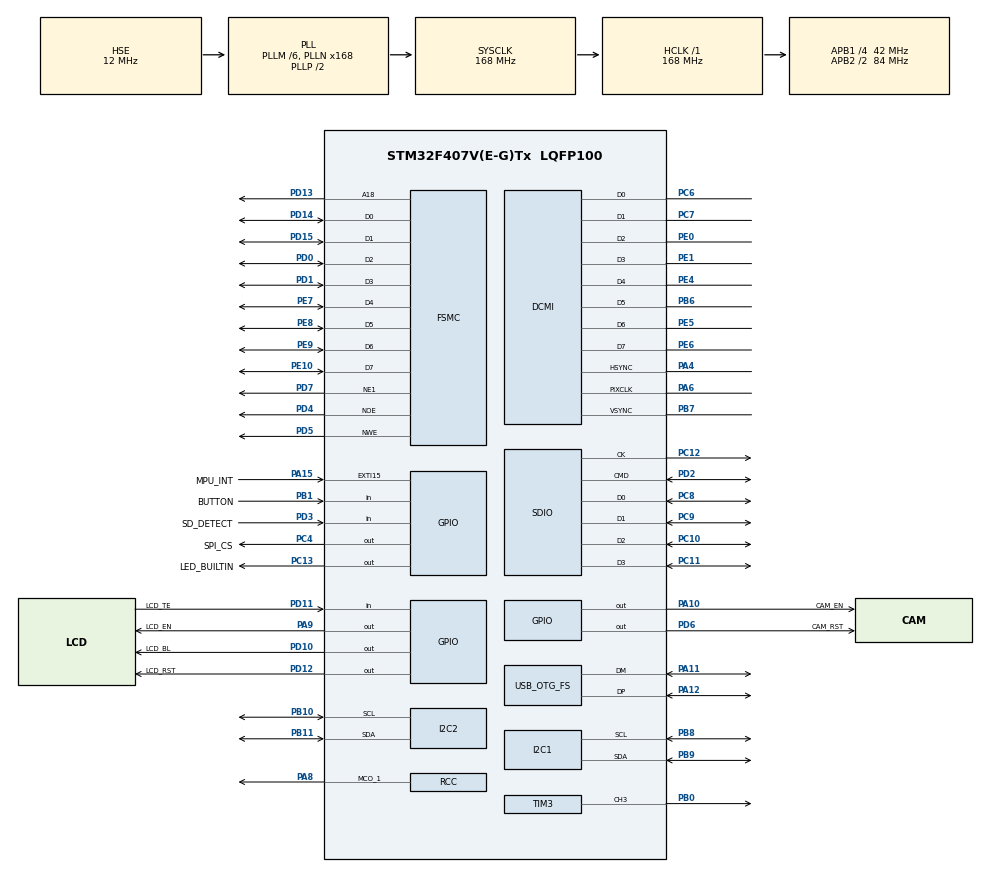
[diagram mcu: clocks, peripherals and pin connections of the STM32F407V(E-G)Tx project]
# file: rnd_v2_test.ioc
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DCMI.JPEGMode=DCMI_JPEG_DISABLE
DCMI.PCKPolarity=DCMI_PCKPOLARITY_RISING
DCMI.VSPolarity=DCMI_VSPOLARITY_HIGH
Dma.DCMI.0.Direction=DMA_PERIPH_TO_MEMORY
Dma.DCMI.0.FIFOMode=DMA_FIFOMODE_DISABLE
Dma.DCMI.0.Instance=DMA2_Stream1
Dma.DCMI.0.MemDataAlignment=DMA_MDATAALIGN_WORD
Dma.DCMI.0.MemInc=DMA_MINC_ENABLE
Dma.DCMI.0.Mode=DMA_CIRCULAR
Dma.DCMI.0.PeriphDataAlignment=DMA_PDATAALIGN_WORD
Dma.DCMI.0.PeriphInc=DMA_PINC_DISABLE
Dma.DCMI.0.Priority=DMA_PRIORITY_VERY_HIGH
Dma.MEMTOMEM.1.Direction=DMA_MEMORY_TO_MEMORY
Dma.MEMTOMEM.1.FIFOMode=DMA_FIFOMODE_ENABLE
Dma.MEMTOMEM.1.FIFOThreshold=DMA_FIFO_THRESHOLD_FULL
Dma.MEMTOMEM.1.Instance=DMA2_Stream2
Dma.MEMTOMEM.1.MemBurst=DMA_MBURST_SINGLE
Dma.MEMTOMEM.1.MemDataAlignment=DMA_MDATAALIGN_HALFWORD
Dma.MEMTOMEM.1.MemInc=DMA_MINC_ENABLE
Dma.MEMTOMEM.1.Mode=DMA_NORMAL
Dma.MEMTOMEM.1.PeriphBurst=DMA_PBURST_SINGLE
Dma.MEMTOMEM.1.PeriphDataAlignment=DMA_PDATAALIGN_HALFWORD
Dma.MEMTOMEM.1.PeriphInc=DMA_PINC_DISABLE
Dma.MEMTOMEM.1.Priority=DMA_PRIORITY_VERY_HIGH
Dma.MEMTOMEM.2.Direction=DMA_MEMORY_TO_MEMORY
Dma.MEMTOMEM.2.FIFOMode=DMA_FIFOMODE_ENABLE
Dma.MEMTOMEM.2.FIFOThreshold=DMA_FIFO_THRESHOLD_FULL
Dma.MEMTOMEM.2.Instance=DMA2_Stream4
Dma.MEMTOMEM.2.MemBurst=DMA_MBURST_SINGLE
Dma.MEMTOMEM.2.MemDataAlignment=DMA_MDATAALIGN_HALFWORD
Dma.MEMTOMEM.2.MemInc=DMA_MINC_ENABLE
Dma.MEMTOMEM.2.Mode=DMA_NORMAL
Dma.MEMTOMEM.2.PeriphBurst=DMA_PBURST_SINGLE
Dma.MEMTOMEM.2.PeriphDataAlignment=DMA_PDATAALIGN_HALFWORD
Dma.MEMTOMEM.2.PeriphInc=DMA_PINC_ENABLE
Dma.MEMTOMEM.2.Priority=DMA_PRIORITY_VERY_HIGH
Dma.Request0=DCMI
Dma.Request1=MEMTOMEM
Dma.Request2=MEMTOMEM
FATFS.BSP.number=1
FATFS0.BSP.STBoard=false
FATFS0.BSP.api=Unknown
FATFS0.BSP.instance=PD3
FATFS0.BSP.ip=GPIO
FATFS0.BSP.mode=Input
FATFS0.BSP.name=Detect_SDIO
FATFS0.BSP.solution=PD3
FSMC.AddressSetupTime1=2
FSMC.BusTurnAroundDuration1=1
FSMC.DataSetupTime1=4
I2C1.I2C_Mode=I2C_Fast
I2C2.I2C_Mode=I2C_Standard
Mcu.Family=STM32F4
Mcu.Name=STM32F407V(E-G)Tx
Mcu.Package=LQFP100
NVIC.DCMI_IRQn=true\:0\:0\:false\:false\:true\:true\:true\:true
NVIC.DMA2_Stream1_IRQn=true\:0\:0\:false\:false\:true\:false\:true\:true
NVIC.OTG_FS_IRQn=true\:0\:0\:false\:false\:true\:false\:true\:true
NVIC.PriorityGroup=NVIC_PRIORITYGROUP_4
NVIC.TIM1_UP_TIM10_IRQn=true\:15\:0\:false\:false\:true\:false\:true\:true
NVIC.TIM7_IRQn=true\:0\:0\:false\:false\:true\:true\:true\:true
NVIC.TimeBase=TIM1_UP_TIM10_IRQn
NVIC.TimeBaseIP=TIM1
PA10.GPIO_Label=CAM_EN
PA10.GPIO_ModeDefaultOutputPP=GPIO_MODE_OUTPUT_OD
PA10.Signal=GPIO_Output
PA11.Mode=Device_Only
PA11.Signal=USB_OTG_FS_DM
PA12.Mode=Device_Only
PA12.Signal=USB_OTG_FS_DP
PA13.Mode=Serial_Wire
PA13.Signal=SYS_JTMS-SWDIO
PA14.Mode=Serial_Wire
PA14.Signal=SYS_JTCK-SWCLK
PA15.GPIO_Label=MPU_INT
PA15.GPIO_ModeDefaultEXTI=GPIO_MODE_IT_FALLING
PA15.GPIO_PuPd=GPIO_PULLUP
PA15.Signal=GPXTI15
PA4.GPIO_Speed=GPIO_SPEED_FREQ_VERY_HIGH
PA4.Mode=Slave_8_bits_External_Synchro
PA4.Signal=DCMI_HSYNC
PA6.GPIO_Speed=GPIO_SPEED_FREQ_VERY_HIGH
PA6.Mode=Slave_8_bits_External_Synchro
PA6.Signal=DCMI_PIXCLK
PA8.GPIO_Speed=GPIO_SPEED_FREQ_VERY_HIGH
PA8.Mode=Clock-out-1
PA8.Signal=RCC_MCO_1
PA9.GPIO_Label=LCD_EN
PA9.GPIO_ModeDefaultOutputPP=GPIO_MODE_OUTPUT_OD
PA9.Signal=GPIO_Output
PB0.Signal=S_TIM3_CH3
PB1.GPIO_Label=BUTTON
PB1.GPIO_PuPd=GPIO_PULLUP
PB1.Signal=GPIO_Input
PB10.GPIO_Pu=GPIO_PULLUP
PB10.Mode=I2C
PB10.Signal=I2C2_SCL
PB11.GPIO_Pu=GPIO_PULLUP
PB11.Mode=I2C
PB11.Signal=I2C2_SDA
PB6.GPIO_Speed=GPIO_SPEED_FREQ_VERY_HIGH
PB6.Mode=Slave_8_bits_External_Synchro
PB6.Signal=DCMI_D5
PB7.GPIO_Speed=GPIO_SPEED_FREQ_VERY_HIGH
PB7.Mode=Slave_8_bits_External_Synchro
PB7.Signal=DCMI_VSYNC
PB8.GPIO_Pu=GPIO_PULLUP
PB8.Mode=I2C
PB8.Signal=I2C1_SCL
PB9.GPIO_Pu=GPIO_PULLUP
PB9.Mode=I2C
PB9.Signal=I2C1_SDA
PC10.GPIO_PuPd=GPIO_PULLUP
PC10.Mode=SD_4_bits_Wide_bus
PC10.Signal=SDIO_D2
PC11.GPIO_PuPd=GPIO_PULLUP
PC11.Mode=SD_4_bits_Wide_bus
PC11.Signal=SDIO_D3
PC12.GPIO_PuPd=GPIO_PULLUP
PC12.Mode=SD_4_bits_Wide_bus
PC12.Signal=SDIO_CK
PC13-ANTI_TAMP.GPIO_Label=LED_BUILTIN
PC13-ANTI_TAMP.Signal=GPIO_Output
PC14-OSC32_IN.Mode=LSE-External-Clock-Source
PC14-OSC32_IN.Signal=RCC_OSC32_IN
PC15-OSC32_OUT.Mode=LSE-External-Clock-Source
PC15-OSC32_OUT.Signal=RCC_OSC32_OUT
PC4.GPIO_Label=SPI_CS
PC4.GPIO_Speed=GPIO_SPEED_FREQ_VERY_HIGH
PC4.Signal=GPIO_Output
PC6.GPIO_Speed=GPIO_SPEED_FREQ_VERY_HIGH
PC6.Mode=Slave_8_bits_External_Synchro
PC6.Signal=DCMI_D0
PC7.GPIO_Speed=GPIO_SPEED_FREQ_VERY_HIGH
PC7.Mode=Slave_8_bits_External_Synchro
PC7.Signal=DCMI_D1
PC8.GPIO_PuPd=GPIO_PULLUP
PC8.Mode=SD_4_bits_Wide_bus
PC8.Signal=SDIO_D0
PC9.GPIO_PuPd=GPIO_PULLUP
PC9.Mode=SD_4_bits_Wide_bus
PC9.Signal=SDIO_D1
PD0.Mode=8b-d1
PD0.Signal=FSMC_D2
PD1.Mode=8b-d1
PD1.Signal=FSMC_D3
PD10.GPIO_Label=LCD_BL
PD10.Signal=GPIO_Output
PD11.GPIO_Label=LCD_TE
PD11.Signal=GPIO_Input
PD12.GPIO_Label=LCD_RST
PD12.Signal=GPIO_Output
PD13.Mode=A18_1
PD13.Signal=FSMC_A18
PD14.Mode=8b-d1
PD14.Signal=FSMC_D0
PD15.Mode=8b-d1
PD15.Signal=FSMC_D1
PD2.GPIO_PuPd=GPIO_PULLUP
PD2.Mode=SD_4_bits_Wide_bus
PD2.Signal=SDIO_CMD
PD3.GPIO_Label=SD_DETECT
PD3.GPIO_PuPd=GPIO_PULLUP
PD3.Signal=GPIO_Input
PD4.Mode=Lcd1
PD4.Signal=FSMC_NOE
PD5.Mode=Lcd1
PD5.Signal=FSMC_NWE
PD6.GPIO_Label=CAM_RST
PD6.Signal=GPIO_Output
PD7.Mode=NorPsramChipSelect1_1
PD7.Signal=FSMC_NE1
PE0.GPIO_Speed=GPIO_SPEED_FREQ_VERY_HIGH
PE0.Mode=Slave_8_bits_External_Synchro
PE0.Signal=DCMI_D2
PE1.GPIO_Speed=GPIO_SPEED_FREQ_VERY_HIGH
PE1.Mode=Slave_8_bits_External_Synchro
PE1.Signal=DCMI_D3
PE10.Mode=8b-d1
PE10.Signal=FSMC_D7
PE4.GPIO_Speed=GPIO_SPEED_FREQ_VERY_HIGH
PE4.Mode=Slave_8_bits_External_Synchro
PE4.Signal=DCMI_D4
PE5.GPIO_Speed=GPIO_SPEED_FREQ_VERY_HIGH
PE5.Mode=Slave_8_bits_External_Synchro
PE5.Signal=DCMI_D6
PE6.GPIO_Speed=GPIO_SPEED_FREQ_VERY_HIGH
PE6.Mode=Slave_8_bits_External_Synchro
PE6.Signal=DCMI_D7
PE7.Mode=8b-d1
PE7.Signal=FSMC_D4
PE8.Mode=8b-d1
PE8.Signal=FSMC_D5
PE9.Mode=8b-d1
PE9.Signal=FSMC_D6
PH0-OSC_IN.Mode=HSE-External-Oscillator
PH0-OSC_IN.Signal=RCC_OSC_IN
PH1-OSC_OUT.Mode=HSE-External-Oscillator
PH1-OSC_OUT.Signal=RCC_OSC_OUT
ProjectManager.HeapSize=0x200
ProjectManager.StackSize=0x400
ProjectManager.TargetToolchain=STM32CubeIDE
RCC.48MHZClocksFreq_Value=48000000
RCC.AHBFreq_Value=168000000
RCC.APB1CLKDivider=RCC_HCLK_DIV4
RCC.APB1Freq_Value=42000000
RCC.APB1TimFreq_Value=84000000
RCC.APB2CLKDivider=RCC_HCLK_DIV2
RCC.APB2Freq_Value=84000000
RCC.APB2TimFreq_Value=168000000
RCC.CortexFreq_Value=168000000
RCC.HCLKFreq_Value=168000000
RCC.HSE_VALUE=12000000
RCC.HSI_VALUE=16000000
RCC.LSE_VALUE=32768
RCC.PLLM=6
RCC.PLLN=168
RCC.PLLQ=7
RCC.SYSCLKFreq_VALUE=168000000
RCC.SYSCLKSource=RCC_SYSCLKSOURCE_PLLCLK
RCC.VCOOutputFreq_Value=336000000
SH.S_TIM3_CH3.0=TIM3_CH3,PWM Generation3 CH3
TIM2.Prescaler=84
TIM3.AutoReloadPreload=TIM_AUTORELOAD_PRELOAD_ENABLE
TIM3.Channel-PWM\ Generation3\ CH3=TIM_CHANNEL_3
TIM3.Period=839
TIM3.Prescaler=7
TIM7.Period=100
TIM7.Prescaler=167
USB_DEVICE.CLASS_NAME_FS=CDC
USB_DEVICE.VirtualMode-CDC_FS=Cdc
USB_DEVICE.VirtualModeFS=Cdc_FS
USB_OTG_FS.VirtualMode=Device_Only
VP_FATFS_VS_SDIO.Mode=SDIO
VP_SYS_VS_tim1.Mode=TIM1
VP_TIM2_VS_ClockSourceINT.Mode=Internal
VP_TIM3_VS_ClockSourceINT.Mode=Internal
VP_TIM7_VS_ClockSourceINT.Mode=Enable_Timer
VP_USB_DEVICE_VS_USB_DEVICE_CDC_FS.Mode=CDC_FS
board=custom

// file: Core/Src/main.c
/* USER CODE BEGIN Header */
/**
  ******************************************************************************
  * @file           : main.c
  * @brief          : Main program body
  ******************************************************************************
  * @attention
  *
  * <h2><center>&copy; Copyright (c) 2021 STMicroelectronics.
  * All rights reserved.</center></h2>
  *
  * This software component is licensed by ST under Ultimate Liberty license
  * SLA0044, the "License"; You may not use this file except in compliance with
  * the License. You may obtain a copy of the License at:
  *                             www.st.com/SLA0044
  *
  ******************************************************************************
  */
/* USER CODE END Header */
#include "main.h"
#include "fatfs.h"
#include "usb_device.h"

/* USER CODE BEGIN Includes */
#include "sirojuLIB_ST7789.h"
#include "sirojuLIB_ov7670_SCCB.h"
#include "image_bin.h"
#include "stdio.h"
#include "stdlib.h"
#include "math.h"
#include "ff.h"
/* USER CODE END Includes */

DCMI_HandleTypeDef hdcmi;
DMA_HandleTypeDef hdma_dcmi;

I2C_HandleTypeDef hi2c1;
I2C_HandleTypeDef hi2c2;

SD_HandleTypeDef hsd;

TIM_HandleTypeDef htim2;
TIM_HandleTypeDef htim3;
TIM_HandleTypeDef htim7;

DMA_HandleTypeDef hdma_memtomem_dma2_stream2;
DMA_HandleTypeDef hdma_memtomem_dma2_stream4;
SRAM_HandleTypeDef hsram1;

/* USER CODE BEGIN PV */

/*
 * SD CARD PINOUT
 * SD_DETECT	-> PD3
 * SDIO_CMD		-> PD2
 * SDIO_CK		-> PC12
 * SDIO_D0		-> PC8
 * SDIO_D1		-> PC9
 * SDIO_D2		-> PC10
 * SDIO_D3		-> PC11
 */

#define CAMERA_WIDTH  320
#define CAMERA_HEIGHT 240
#define LCD_WIDTH     240
#define LCD_HEIGHT    240
#define WIDTH  240
#define HEIGHT 240

#define LCD_PRINT(str, x, y) ST7789_printText(str, x, y, 0x0000, 0xffff, 1);

typedef enum {
	NONE, RED, GREEN, BLUE
}color_t;

_Bool bt_state = 0, lcd_show_flag = 0;
_Bool cam_frame_flag = 0, cam_show_mode = 1;
uint8_t camera_buffer[LCD_WIDTH*LCD_HEIGHT*2] __attribute__((aligned(32)));
uint8_t frame_color_mask[LCD_WIDTH*LCD_HEIGHT / 8] __attribute__((section(".ccmram")));
//__attribute__((section(".ccmram")))
uint8_t fps, fps_count = 0;
uint32_t timer1, fps_tick;
char lcd_str_buffer[32];

uint8_t frame_x0, frame_y0, frame_x1, frame_y1;

color_t filter_mode = RED;

/* USER CODE END PV */

void SystemClock_Config(void);
static void MX_GPIO_Init(void);
static void MX_DMA_Init(void);
static void MX_DCMI_Init(void);
static void MX_FSMC_Init(void);
static void MX_I2C1_Init(void);
static void MX_I2C2_Init(void);
static void MX_TIM3_Init(void);
static void MX_TIM7_Init(void);
static void MX_TIM2_Init(void);
static void MX_SDIO_SD_Init(void);
/* USER CODE BEGIN PFP */

uint8_t CDC_Transmit_FS(uint8_t* Buf, uint16_t Len);

/* USER CODE END PFP */

/* USER CODE BEGIN 0 */

FATFS fs;         // FatFs work area
FIL fil;          // File object
FRESULT res;      // FatFs return code
char read_data[100]; // Buffer to store the read data
DWORD free_clust;  // Free clusters count
DWORD total_clust; // Total clusters count

#if 0
void sd_check (){
    // Mount the SD card
    res = f_mount(&fs, "", 1);
    if (res != FR_OK) {
        // Handle mounting error
        printf("Mounting SD card failed\n");
        while(1);
    }

    // Get the free space and total size of the SD card
    res = f_getfree("", &free_clust, &fs);
    if (res == FR_OK) {
        // Get the bytes per sector
        bytes_per_sector = fs.csize * 512;

        // Get the total clusters
        total_clust = fs.n_fatent - 2;  // Reserved clusters count

        // Calculate total size in bytes
        DWORD total_size = total_clust * bytes_per_sector;

        // Calculate free space in bytes
        DWORD free_size = free_clust * bytes_per_sector;

        // Format the information to display
        sprintf(info, "Total size: %lu bytes\nFree size: %lu bytes\n", total_size, free_size);

        // Print the SD card size information (via UART or any method)
        printf("%s", info);
    } else {
        // Handle error in getting free space
        printf("Error retrieving SD card information\n");
    }
}
#endif

void test_sd (){
	// Mount the SD card
	res = f_mount(&fs, "", 1);
	if (res != FR_OK) {
		// Handle mounting error
		LCD_PRINT ("mount failed", 5, 20);
		return;
	}
	LCD_PRINT ("mount success", 5, 20);

	// Open a file for writing
	res = f_open(&fil, "hello1.txt", FA_CREATE_ALWAYS | FA_WRITE);
	if (res == FR_OK) {
		LCD_PRINT ("success open file", 5, 35);
		char write_data[] = "Hello, STM32 SDIO!";
		UINT bytes_written;
		f_write(&fil, write_data, sizeof(write_data), &bytes_written);
		f_close(&fil);
	}
}

void test_sd_read_txt (){
	// Open the file for reading
	res = f_open(&fil, "hello.txt", FA_READ);
	if (res == FR_OK) {
		// Read data from the file
		UINT bytes_read;
		res = f_read(&fil, read_data, sizeof(read_data) - 1, &bytes_read);
		if (res == FR_OK) {
			// Null-terminate the string to make it safe for printing
			read_data[bytes_read] = '\0';
			// Do something with the data, e.g., print to console
//			sprintf (lcd_str_buffer, "Read data: %s", read_data);
//			ST7789_printText (lcd_str_buffer, 5, 5, 0x0000, 0xffff, 1);
		} else {
			// Handle read error
		}

		// Close the file after reading
		f_close(&fil);
	} else {
		// Handle file open error
	}
}
/************************************************************************************************************/

float get_fps (){
	float fps = 1000000.0 / (float)TIM2->CNT;
	TIM2->CNT = 0;
	return fps;
}

_Bool color_filter (color_t color, uint16_t pixel) {
	_Bool result = 0;
	uint8_t r = pixel >> 11;
	uint8_t g = (pixel >> 5) & 0x3f;
	uint8_t b = pixel & 0x1f;
	r = r << 3;
	g = g << 2;
	b = b << 3;

	if (color == RED){
    	if (r > (g + 25) && r > (b + 25) && r > 50) result = 1;
	}
	else if (color == GREEN){
    	if (g > (r + 100) && g > (b + 100) && g > 50) result = 1;
	}
	else if (color == BLUE){
    	if (b > (r + 0) && b > (g + 0) && b > 10) result = 1;
	}
	return result;
}

void cam_filter_color (color_t filter){
	uint8_t x0 = 255;
	uint8_t y0 = 255;
	uint8_t x1 = 0;
	uint8_t y1 = 0;
	for (int y = 0; y < HEIGHT-3; y+=3) {
		for (int x = 0; x < WIDTH-3; x+=3) {
			int index;
			uint16_t pixel_cam[9];
			_Bool result_filter = 1;
			for (uint8_t n = 0; n < 9; n++){
				index = ((y + n/3) * WIDTH + x + (n%3)) * 2;
				pixel_cam[n] = camera_buffer[index + 1] << 8 | camera_buffer[index];
				if (color_filter (filter, pixel_cam[n])){
					frame_color_mask[index/16] |= (1 << ((index/2) % 8));
				}
				else{
					frame_color_mask[index/16] &= ~(1 << ((index/2) % 8));
					result_filter = 0;
				}
//				result_filter = result_filter && color_filter (filter, pixel_cam[n]);

			}
			if (result_filter){
				if (x0 > x) x0 = x;
				if (y0 > y) y0 = y;
				if (x1 < x) x1 = x;
				if (y1 < y) y1 = y;

			}
		}
	}
	frame_x0 = x0;
	frame_y0 = y0;
	frame_x1 = x1;
	frame_y1 = y1;
}

void show_color_filter (color_t filter) {
	for (int y = 0; y < HEIGHT; y++) {
		for (int x = 0; x < WIDTH; x++) {
			int index = (y * WIDTH + x) * 2;
			uint16_t pixel_cam = camera_buffer[index + 1] << 8 | camera_buffer[index];
			if (color_filter (filter, pixel_cam)){
	        	ST7789_SendData (0xff);
	        	ST7789_SendData (0xff);
			}
			else{
	        	ST7789_SendData (0x00);
	        	ST7789_SendData (0x00);
			}
		}
	}
}

void lcd_show (uint8_t *ptr){
	for (int y = 0; y < HEIGHT; y++) {
		for (int x = 0; x < WIDTH; x++) {
			int index = (y * WIDTH + x) * 2;
			if (((x == frame_x0 || x == frame_x1) && y >= frame_y0 && y <= frame_y1) ||
				((y == frame_y0 || y == frame_y1) && x >= frame_x0 && x <= frame_x1)){
//				ptr[index + 1] = 0xf8;
//				ptr[index] = 0x00;
	        	ST7789_SendData (0xf8);
	        	ST7789_SendData (0x00);
			}
			else{
				ST7789_SendData (ptr[index + 1]);
				ST7789_SendData (ptr[index]);
			}
		}
	}
}

void lcd_show_color_mask (uint8_t *ptr){
	for (int y = 0; y < HEIGHT; y++) {
		for (int x = 0; x < WIDTH; x++) {
			int index = (y * WIDTH + x);
			if ((frame_color_mask[index/8] >> (index % 8)) & 1){
	        	ST7789_SendData (0xff);
	        	ST7789_SendData (0xff);
			}
			else{
	        	ST7789_SendData (0x00);
	        	ST7789_SendData (0x00);
			}
		}
	}
}

void lcd_print_fps (){
	sprintf (lcd_str_buffer, "%.2ffps ", get_fps ());
	lcd_print_str_to_buffer (camera_buffer, lcd_str_buffer, 5, 5, 0xf800, 0, 1);
}

void SendImageUSB(uint8_t *data, uint32_t length) {
    uint32_t header = 0xA5A5A5A5;

    // Kirim header
    while (CDC_Transmit_FS((uint8_t *)&header, sizeof(header)) == USBD_BUSY);

    // Kirim data gambar
    while (length > 0) {
        uint32_t chunkSize = (length > 128) ? 128 : length; // Maksimum paket USB FS
        while (CDC_Transmit_FS(data, chunkSize) == USBD_BUSY); // Tunggu hingga endpoint USB siap
        data += chunkSize;
        length -= chunkSize;
    }
}

void send_image_with_frame() {
    uint32_t header = 0xA5A5A5A5;  // Header untuk sinkronisasi frame
    uint32_t offset = 0;

    // Kirim header
    while (CDC_Transmit_FS((uint8_t *)&header, sizeof(header)) == USBD_BUSY);

    for (int y = 0; y < HEIGHT; y++) {
    	int index;
    	if (y > frame_y0 && y < frame_y1){
            index = (y * WIDTH + frame_x0) * 2;  // Hitung indeks piksel
            camera_buffer[index + 1] = 0xF8; // Warna merah RGB565
            camera_buffer[index] = 0x00;
            index = (y * WIDTH + frame_x1) * 2;  // Hitung indeks piksel
            camera_buffer[index + 1] = 0xF8; // Warna merah RGB565
            camera_buffer[index] = 0x00;
    	}
    	else if (y == frame_y0 || y == frame_y1){
    		for (int x = frame_x0; x <= frame_x1; x++){
                index = (frame_y0 * WIDTH + x) * 2;  // Hitung indeks piksel
                camera_buffer[index + 1] = 0xF8; // Warna merah RGB565
                camera_buffer[index] = 0x00;
                index = (frame_y1 * WIDTH + x) * 2;  // Hitung indeks piksel
                camera_buffer[index + 1] = 0xF8; // Warna merah RGB565
                camera_buffer[index] = 0x00;
    		}
    	}
//        for (int x = 0; x < WIDTH; x++) {
//            if (((x == frame_x0 || x == frame_x1) && y >= frame_y0 && y <= frame_y1) ||
//                ((y == frame_y0 || y == frame_y1) && x >= frame_x0 && x <= frame_x1)) {
//                int index = (y * WIDTH + x) * 2;  // Hitung indeks piksel
//                camera_buffer[index + 1] = 0xF8; // Warna merah RGB565
//                camera_buffer[index] = 0x00;
//            }
//        }

        uint32_t length = WIDTH *2;
        while (length > 0){
        	uint32_t chunk_size = (length > 128) ? 128 : length;
            while (CDC_Transmit_FS(camera_buffer+offset, chunk_size) == USBD_BUSY);
            offset += chunk_size;
            length -= chunk_size;
        }
    }
}

uint32_t index_cam = 0;

void HAL_DCMI_LineEventCallback(DCMI_HandleTypeDef *hdcmi) {
}

void HAL_DCMI_VsyncEventCallback(DCMI_HandleTypeDef *hdcmi) {
}

void HAL_DCMI_FrameEventCallback(DCMI_HandleTypeDef *hdcmi) {
	lcd_print_fps ();
	if (cam_show_mode) {
		lcd_show (camera_buffer);
	}
	else{
		lcd_show_color_mask (camera_buffer);
	}
	lcd_show_flag = 1;
}

/* USER CODE END 0 */

int main(void)
{

  /* MCU Configuration--------------------------------------------------------*/

  /* Reset of all peripherals, Initializes the Flash interface and the Systick. */
  HAL_Init();

  /* Configure the system clock */
  SystemClock_Config();

  /* Initialize all configured peripherals */
  MX_GPIO_Init();
  MX_DMA_Init();
  MX_DCMI_Init();
  MX_FSMC_Init();
  MX_USB_DEVICE_Init();
  MX_I2C1_Init();
  MX_I2C2_Init();
  MX_TIM3_Init();
  MX_TIM7_Init();
  MX_TIM2_Init();
  MX_SDIO_SD_Init();
  MX_FATFS_Init();
  /* USER CODE BEGIN 2 */
//	HAL_GPIO_WritePin(LCD_BL_GPIO_Port, LCD_BL_Pin, GPIO_PIN_SET);
	HAL_GPIO_WritePin(LCD_EN_GPIO_Port, LCD_EN_Pin, GPIO_PIN_SET);
	HAL_GPIO_WritePin(LCD_RST_GPIO_Port, LCD_RST_Pin, GPIO_PIN_RESET);
	HAL_Delay(10);
	HAL_GPIO_WritePin(LCD_RST_GPIO_Port, LCD_RST_Pin, GPIO_PIN_SET);
	HAL_Delay(10);

	ST7789_Init(240, 240);
	HAL_GPIO_WritePin(CAM_EN_GPIO_Port, CAM_EN_Pin, GPIO_PIN_SET);

	ST7789_Fill (0xffff);
	ST7789_printImage(60, 60, 120, 120, dudububu, _LSB_FIRST);
	HAL_Delay(500);
	ST7789_Fill (0xffff);

//	LCD_PRINT ("Test SD Card", 5, 5);
//	test_sd ();
//	test_sd_read_txt ();

	ST7789_SetCursorPosition (0, 0, 239, 239);

	ov7670_config (&hi2c2, CAM_RST_GPIO_Port, CAM_RST_Pin);

	HAL_TIM_Base_Start(&htim2);

	HAL_DCMI_ConfigCrop(&hdcmi, 0, 0, LCD_WIDTH*2-1, LCD_HEIGHT*2-1);
	HAL_DCMI_EnableCrop(&hdcmi);
	HAL_DCMI_Start_DMA(&hdcmi, DCMI_MODE_CONTINUOUS, (uint32_t)&camera_buffer[0], LCD_WIDTH*LCD_HEIGHT/2);

  /* USER CODE END 2 */

  /* Infinite loop */
  /* USER CODE BEGIN WHILE */
  while (1)
  {
	  if (!HAL_GPIO_ReadPin(BUTTON_GPIO_Port, BUTTON_Pin)){
		  if (!bt_state){
			  bt_state = 1;
			  if (cam_show_mode) cam_show_mode = 0;
			  else cam_show_mode = 1;
//			  filter_mode++;
//			  if (filter_mode > BLUE) filter_mode = RED;
//			  HAL_GPIO_TogglePin(LED_BUILTIN_GPIO_Port, LED_BUILTIN_Pin);
		  }
	  }
	  else{
		  if (bt_state) bt_state = 0;
	  }
//
	  if (lcd_show_flag){
		  cam_filter_color (filter_mode);
//		  send_image_with_frame ();
//		  SendImageUSB(camera_buffer, LCD_WIDTH*LCD_HEIGHT*2);
		  lcd_show_flag = 0;
	  }

	  if (HAL_GetTick() - timer1 > 500){
		  timer1 = HAL_GetTick();
		  HAL_GPIO_TogglePin(LED_BUILTIN_GPIO_Port, LED_BUILTIN_Pin);
	  }

    /* USER CODE END WHILE */

  }
}

void SystemClock_Config(void)
{
  RCC_OscInitTypeDef RCC_OscInitStruct = {0};
  RCC_ClkInitTypeDef RCC_ClkInitStruct = {0};

  /** Configure the main internal regulator output voltage
  */
  __HAL_RCC_PWR_CLK_ENABLE();
  __HAL_PWR_VOLTAGESCALING_CONFIG(PWR_REGULATOR_VOLTAGE_SCALE1);

  /** Initializes the RCC Oscillators according to the specified parameters
  * in the RCC_OscInitTypeDef structure.
  */
  RCC_OscInitStruct.OscillatorType = RCC_OSCILLATORTYPE_HSI|RCC_OSCILLATORTYPE_HSE;
  RCC_OscInitStruct.HSEState = RCC_HSE_ON;
  RCC_OscInitStruct.HSIState = RCC_HSI_ON;
  RCC_OscInitStruct.HSICalibrationValue = RCC_HSICALIBRATION_DEFAULT;
  RCC_OscInitStruct.PLL.PLLState = RCC_PLL_ON;
  RCC_OscInitStruct.PLL.PLLSource = RCC_PLLSOURCE_HSE;
  RCC_OscInitStruct.PLL.PLLM = 6;
  RCC_OscInitStruct.PLL.PLLN = 168;
  RCC_OscInitStruct.PLL.PLLP = RCC_PLLP_DIV2;
  RCC_OscInitStruct.PLL.PLLQ = 7;
  if (HAL_RCC_OscConfig(&RCC_OscInitStruct) != HAL_OK)
  {
    Error_Handler();
  }

  /** Initializes the CPU, AHB and APB buses clocks
  */
  RCC_ClkInitStruct.ClockType = RCC_CLOCKTYPE_HCLK|RCC_CLOCKTYPE_SYSCLK
                              |RCC_CLOCKTYPE_PCLK1|RCC_CLOCKTYPE_PCLK2;
  RCC_ClkInitStruct.SYSCLKSource = RCC_SYSCLKSOURCE_PLLCLK;
  RCC_ClkInitStruct.AHBCLKDivider = RCC_SYSCLK_DIV1;
  RCC_ClkInitStruct.APB1CLKDivider = RCC_HCLK_DIV4;
  RCC_ClkInitStruct.APB2CLKDivider = RCC_HCLK_DIV2;

  if (HAL_RCC_ClockConfig(&RCC_ClkInitStruct, FLASH_LATENCY_5) != HAL_OK)
  {
    Error_Handler();
  }
  HAL_RCC_MCOConfig(RCC_MCO1, RCC_MCO1SOURCE_HSI, RCC_MCODIV_1);
}

static void MX_DCMI_Init(void)
{

  hdcmi.Instance = DCMI;
  hdcmi.Init.SynchroMode = DCMI_SYNCHRO_HARDWARE;
  hdcmi.Init.PCKPolarity = DCMI_PCKPOLARITY_RISING;
  hdcmi.Init.VSPolarity = DCMI_VSPOLARITY_HIGH;
  hdcmi.Init.HSPolarity = DCMI_HSPOLARITY_LOW;
  hdcmi.Init.CaptureRate = DCMI_CR_ALL_FRAME;
  hdcmi.Init.ExtendedDataMode = DCMI_EXTEND_DATA_8B;
  hdcmi.Init.JPEGMode = DCMI_JPEG_DISABLE;
  if (HAL_DCMI_Init(&hdcmi) != HAL_OK)
  {
    Error_Handler();
  }

}

static void MX_I2C1_Init(void)
{

  hi2c1.Instance = I2C1;
  hi2c1.Init.ClockSpeed = 400000;
  hi2c1.Init.DutyCycle = I2C_DUTYCYCLE_2;
  hi2c1.Init.OwnAddress1 = 0;
  hi2c1.Init.AddressingMode = I2C_ADDRESSINGMODE_7BIT;
  hi2c1.Init.DualAddressMode = I2C_DUALADDRESS_DISABLE;
  hi2c1.Init.OwnAddress2 = 0;
  hi2c1.Init.GeneralCallMode = I2C_GENERALCALL_DISABLE;
  hi2c1.Init.NoStretchMode = I2C_NOSTRETCH_DISABLE;
  if (HAL_I2C_Init(&hi2c1) != HAL_OK)
  {
    Error_Handler();
  }

}

static void MX_I2C2_Init(void)
{

  hi2c2.Instance = I2C2;
  hi2c2.Init.ClockSpeed = 100000;
  hi2c2.Init.DutyCycle = I2C_DUTYCYCLE_2;
  hi2c2.Init.OwnAddress1 = 0;
  hi2c2.Init.AddressingMode = I2C_ADDRESSINGMODE_7BIT;
  hi2c2.Init.DualAddressMode = I2C_DUALADDRESS_DISABLE;
  hi2c2.Init.OwnAddress2 = 0;
  hi2c2.Init.GeneralCallMode = I2C_GENERALCALL_DISABLE;
  hi2c2.Init.NoStretchMode = I2C_NOSTRETCH_DISABLE;
  if (HAL_I2C_Init(&hi2c2) != HAL_OK)
  {
    Error_Handler();
  }

}

static void MX_SDIO_SD_Init(void)
{

  hsd.Instance = SDIO;
  hsd.Init.ClockEdge = SDIO_CLOCK_EDGE_RISING;
  hsd.Init.ClockBypass = SDIO_CLOCK_BYPASS_DISABLE;
  hsd.Init.ClockPowerSave = SDIO_CLOCK_POWER_SAVE_DISABLE;
  hsd.Init.BusWide = SDIO_BUS_WIDE_4B;
  hsd.Init.HardwareFlowControl = SDIO_HARDWARE_FLOW_CONTROL_DISABLE;
  hsd.Init.ClockDiv = 0;

}

static void MX_TIM2_Init(void)
{

  TIM_ClockConfigTypeDef sClockSourceConfig = {0};
  TIM_MasterConfigTypeDef sMasterConfig = {0};

  htim2.Instance = TIM2;
  htim2.Init.Prescaler = 84;
  htim2.Init.CounterMode = TIM_COUNTERMODE_UP;
  htim2.Init.Period = 4294967295;
  htim2.Init.ClockDivision = TIM_CLOCKDIVISION_DIV1;
  htim2.Init.AutoReloadPreload = TIM_AUTORELOAD_PRELOAD_DISABLE;
  if (HAL_TIM_Base_Init(&htim2) != HAL_OK)
  {
    Error_Handler();
  }
  sClockSourceConfig.ClockSource = TIM_CLOCKSOURCE_INTERNAL;
  if (HAL_TIM_ConfigClockSource(&htim2, &sClockSourceConfig) != HAL_OK)
  {
    Error_Handler();
  }
  sMasterConfig.MasterOutputTrigger = TIM_TRGO_RESET;
  sMasterConfig.MasterSlaveMode = TIM_MASTERSLAVEMODE_DISABLE;
  if (HAL_TIMEx_MasterConfigSynchronization(&htim2, &sMasterConfig) != HAL_OK)
  {
    Error_Handler();
  }

}

static void MX_TIM3_Init(void)
{

  TIM_ClockConfigTypeDef sClockSourceConfig = {0};
  TIM_MasterConfigTypeDef sMasterConfig = {0};
  TIM_OC_InitTypeDef sConfigOC = {0};

  htim3.Instance = TIM3;
  htim3.Init.Prescaler = 7;
  htim3.Init.CounterMode = TIM_COUNTERMODE_UP;
  htim3.Init.Period = 839;
  htim3.Init.ClockDivision = TIM_CLOCKDIVISION_DIV1;
  htim3.Init.AutoReloadPreload = TIM_AUTORELOAD_PRELOAD_ENABLE;
  if (HAL_TIM_Base_Init(&htim3) != HAL_OK)
  {
    Error_Handler();
  }
  sClockSourceConfig.ClockSource = TIM_CLOCKSOURCE_INTERNAL;
  if (HAL_TIM_ConfigClockSource(&htim3, &sClockSourceConfig) != HAL_OK)
  {
    Error_Handler();
  }
  if (HAL_TIM_PWM_Init(&htim3) != HAL_OK)
  {
    Error_Handler();
  }
  sMasterConfig.MasterOutputTrigger = TIM_TRGO_RESET;
  sMasterConfig.MasterSlaveMode = TIM_MASTERSLAVEMODE_DISABLE;
  if (HAL_TIMEx_MasterConfigSynchronization(&htim3, &sMasterConfig) != HAL_OK)
  {
    Error_Handler();
  }
  sConfigOC.OCMode = TIM_OCMODE_PWM1;
  sConfigOC.Pulse = 0;
  sConfigOC.OCPolarity = TIM_OCPOLARITY_HIGH;
  sConfigOC.OCFastMode = TIM_OCFAST_DISABLE;
  if (HAL_TIM_PWM_ConfigChannel(&htim3, &sConfigOC, TIM_CHANNEL_3) != HAL_OK)
  {
    Error_Handler();
  }
  HAL_TIM_MspPostInit(&htim3);

}

static void MX_TIM7_Init(void)
{

  TIM_MasterConfigTypeDef sMasterConfig = {0};

  htim7.Instance = TIM7;
  htim7.Init.Prescaler = 167;
  htim7.Init.CounterMode = TIM_COUNTERMODE_UP;
  htim7.Init.Period = 100;
  htim7.Init.AutoReloadPreload = TIM_AUTORELOAD_PRELOAD_DISABLE;
  if (HAL_TIM_Base_Init(&htim7) != HAL_OK)
  {
    Error_Handler();
  }
  sMasterConfig.MasterOutputTrigger = TIM_TRGO_RESET;
  sMasterConfig.MasterSlaveMode = TIM_MASTERSLAVEMODE_DISABLE;
  if (HAL_TIMEx_MasterConfigSynchronization(&htim7, &sMasterConfig) != HAL_OK)
  {
    Error_Handler();
  }

}

static void MX_DMA_Init(void)
{

  /* DMA controller clock enable */
  __HAL_RCC_DMA2_CLK_ENABLE();

  /* Configure DMA request hdma_memtomem_dma2_stream2 on DMA2_Stream2 */
  hdma_memtomem_dma2_stream2.Instance = DMA2_Stream2;
  hdma_memtomem_dma2_stream2.Init.Channel = DMA_CHANNEL_0;
  hdma_memtomem_dma2_stream2.Init.Direction = DMA_MEMORY_TO_MEMORY;
  hdma_memtomem_dma2_stream2.Init.PeriphInc = DMA_PINC_DISABLE;
  hdma_memtomem_dma2_stream2.Init.MemInc = DMA_MINC_ENABLE;
  hdma_memtomem_dma2_stream2.Init.PeriphDataAlignment = DMA_PDATAALIGN_HALFWORD;
  hdma_memtomem_dma2_stream2.Init.MemDataAlignment = DMA_MDATAALIGN_HALFWORD;
  hdma_memtomem_dma2_stream2.Init.Mode = DMA_NORMAL;
  hdma_memtomem_dma2_stream2.Init.Priority = DMA_PRIORITY_VERY_HIGH;
  hdma_memtomem_dma2_stream2.Init.FIFOMode = DMA_FIFOMODE_ENABLE;
  hdma_memtomem_dma2_stream2.Init.FIFOThreshold = DMA_FIFO_THRESHOLD_FULL;
  hdma_memtomem_dma2_stream2.Init.MemBurst = DMA_MBURST_SINGLE;
  hdma_memtomem_dma2_stream2.Init.PeriphBurst = DMA_PBURST_SINGLE;
  if (HAL_DMA_Init(&hdma_memtomem_dma2_stream2) != HAL_OK)
  {
    Error_Handler( );
  }

  /* Configure DMA request hdma_memtomem_dma2_stream4 on DMA2_Stream4 */
  hdma_memtomem_dma2_stream4.Instance = DMA2_Stream4;
  hdma_memtomem_dma2_stream4.Init.Channel = DMA_CHANNEL_0;
  hdma_memtomem_dma2_stream4.Init.Direction = DMA_MEMORY_TO_MEMORY;
  hdma_memtomem_dma2_stream4.Init.PeriphInc = DMA_PINC_ENABLE;
  hdma_memtomem_dma2_stream4.Init.MemInc = DMA_MINC_ENABLE;
  hdma_memtomem_dma2_stream4.Init.PeriphDataAlignment = DMA_PDATAALIGN_HALFWORD;
  hdma_memtomem_dma2_stream4.Init.MemDataAlignment = DMA_MDATAALIGN_HALFWORD;
  hdma_memtomem_dma2_stream4.Init.Mode = DMA_NORMAL;
  hdma_memtomem_dma2_stream4.Init.Priority = DMA_PRIORITY_VERY_HIGH;
  hdma_memtomem_dma2_stream4.Init.FIFOMode = DMA_FIFOMODE_ENABLE;
  hdma_memtomem_dma2_stream4.Init.FIFOThreshold = DMA_FIFO_THRESHOLD_FULL;
  hdma_memtomem_dma2_stream4.Init.MemBurst = DMA_MBURST_SINGLE;
  hdma_memtomem_dma2_stream4.Init.PeriphBurst = DMA_PBURST_SINGLE;
  if (HAL_DMA_Init(&hdma_memtomem_dma2_stream4) != HAL_OK)
  {
    Error_Handler( );
  }

  /* DMA interrupt init */
  /* DMA2_Stream1_IRQn interrupt configuration */
  HAL_NVIC_SetPriority(DMA2_Stream1_IRQn, 0, 0);
  HAL_NVIC_EnableIRQ(DMA2_Stream1_IRQn);

}

static void MX_GPIO_Init(void)
{
  GPIO_InitTypeDef GPIO_InitStruct = {0};

  /* GPIO Ports Clock Enable */
  __HAL_RCC_GPIOE_CLK_ENABLE();
  __HAL_RCC_GPIOC_CLK_ENABLE();
  __HAL_RCC_GPIOH_CLK_ENABLE();
  __HAL_RCC_GPIOA_CLK_ENABLE();
  __HAL_RCC_GPIOB_CLK_ENABLE();
  __HAL_RCC_GPIOD_CLK_ENABLE();

  /*Configure GPIO pin Output Level */
  HAL_GPIO_WritePin(GPIOC, LED_BUILTIN_Pin|SPI_CS_Pin, GPIO_PIN_RESET);

  /*Configure GPIO pin Output Level */
  HAL_GPIO_WritePin(GPIOD, LCD_BL_Pin|LCD_RST_Pin|CAM_RST_Pin, GPIO_PIN_RESET);

  /*Configure GPIO pin Output Level */
  HAL_GPIO_WritePin(GPIOA, LCD_EN_Pin|CAM_EN_Pin, GPIO_PIN_RESET);

  /*Configure GPIO pin : LED_BUILTIN_Pin */
  GPIO_InitStruct.Pin = LED_BUILTIN_Pin;
  GPIO_InitStruct.Mode = GPIO_MODE_OUTPUT_PP;
  GPIO_InitStruct.Pull = GPIO_NOPULL;
  GPIO_InitStruct.Speed = GPIO_SPEED_FREQ_LOW;
  HAL_GPIO_Init(LED_BUILTIN_GPIO_Port, &GPIO_InitStruct);

  /*Configure GPIO pin : SPI_CS_Pin */
  GPIO_InitStruct.Pin = SPI_CS_Pin;
  GPIO_InitStruct.Mode = GPIO_MODE_OUTPUT_PP;
  GPIO_InitStruct.Pull = GPIO_NOPULL;
  GPIO_InitStruct.Speed = GPIO_SPEED_FREQ_VERY_HIGH;
  HAL_GPIO_Init(SPI_CS_GPIO_Port, &GPIO_InitStruct);

  /*Configure GPIO pin : BUTTON_Pin */
  GPIO_InitStruct.Pin = BUTTON_Pin;
  GPIO_InitStruct.Mode = GPIO_MODE_INPUT;
  GPIO_InitStruct.Pull = GPIO_PULLUP;
  HAL_GPIO_Init(BUTTON_GPIO_Port, &GPIO_InitStruct);

  /*Configure GPIO pins : LCD_BL_Pin LCD_RST_Pin CAM_RST_Pin */
  GPIO_InitStruct.Pin = LCD_BL_Pin|LCD_RST_Pin|CAM_RST_Pin;
  GPIO_InitStruct.Mode = GPIO_MODE_OUTPUT_PP;
  GPIO_InitStruct.Pull = GPIO_NOPULL;
  GPIO_InitStruct.Speed = GPIO_SPEED_FREQ_LOW;
  HAL_GPIO_Init(GPIOD, &GPIO_InitStruct);

  /*Configure GPIO pin : LCD_TE_Pin */
  GPIO_InitStruct.Pin = LCD_TE_Pin;
  GPIO_InitStruct.Mode = GPIO_MODE_INPUT;
  GPIO_InitStruct.Pull = GPIO_NOPULL;
  HAL_GPIO_Init(LCD_TE_GPIO_Port, &GPIO_InitStruct);

  /*Configure GPIO pin : PA8 */
  GPIO_InitStruct.Pin = GPIO_PIN_8;
  GPIO_InitStruct.Mode = GPIO_MODE_AF_PP;
  GPIO_InitStruct.Pull = GPIO_NOPULL;
  GPIO_InitStruct.Speed = GPIO_SPEED_FREQ_VERY_HIGH;
  GPIO_InitStruct.Alternate = GPIO_AF0_MCO;
  HAL_GPIO_Init(GPIOA, &GPIO_InitStruct);

  /*Configure GPIO pins : LCD_EN_Pin CAM_EN_Pin */
  GPIO_InitStruct.Pin = LCD_EN_Pin|CAM_EN_Pin;
  GPIO_InitStruct.Mode = GPIO_MODE_OUTPUT_OD;
  GPIO_InitStruct.Pull = GPIO_NOPULL;
  GPIO_InitStruct.Speed = GPIO_SPEED_FREQ_LOW;
  HAL_GPIO_Init(GPIOA, &GPIO_InitStruct);

  /*Configure GPIO pin : MPU_INT_Pin */
  GPIO_InitStruct.Pin = MPU_INT_Pin;
  GPIO_InitStruct.Mode = GPIO_MODE_IT_FALLING;
  GPIO_InitStruct.Pull = GPIO_PULLUP;
  HAL_GPIO_Init(MPU_INT_GPIO_Port, &GPIO_InitStruct);

  /*Configure GPIO pin : SD_DETECT_Pin */
  GPIO_InitStruct.Pin = SD_DETECT_Pin;
  GPIO_InitStruct.Mode = GPIO_MODE_INPUT;
  GPIO_InitStruct.Pull = GPIO_PULLUP;
  HAL_GPIO_Init(SD_DETECT_GPIO_Port, &GPIO_InitStruct);

}

/* FSMC initialization function */
static void MX_FSMC_Init(void)
{

  FSMC_NORSRAM_TimingTypeDef Timing = {0};

  /** Perform the SRAM1 memory initialization sequence
  */
  hsram1.Instance = FSMC_NORSRAM_DEVICE;
  hsram1.Extended = FSMC_NORSRAM_EXTENDED_DEVICE;
  /* hsram1.Init */
  hsram1.Init.NSBank = FSMC_NORSRAM_BANK1;
  hsram1.Init.DataAddressMux = FSMC_DATA_ADDRESS_MUX_DISABLE;
  hsram1.Init.MemoryType = FSMC_MEMORY_TYPE_SRAM;
  hsram1.Init.MemoryDataWidth = FSMC_NORSRAM_MEM_BUS_WIDTH_8;
  hsram1.Init.BurstAccessMode = FSMC_BURST_ACCESS_MODE_DISABLE;
  hsram1.Init.WaitSignalPolarity = FSMC_WAIT_SIGNAL_POLARITY_LOW;
  hsram1.Init.WrapMode = FSMC_WRAP_MODE_DISABLE;
  hsram1.Init.WaitSignalActive = FSMC_WAIT_TIMING_BEFORE_WS;
  hsram1.Init.WriteOperation = FSMC_WRITE_OPERATION_ENABLE;
  hsram1.Init.WaitSignal = FSMC_WAIT_SIGNAL_DISABLE;
  hsram1.Init.ExtendedMode = FSMC_EXTENDED_MODE_DISABLE;
  hsram1.Init.AsynchronousWait = FSMC_ASYNCHRONOUS_WAIT_DISABLE;
  hsram1.Init.WriteBurst = FSMC_WRITE_BURST_DISABLE;
  hsram1.Init.PageSize = FSMC_PAGE_SIZE_NONE;
  /* Timing */
  Timing.AddressSetupTime = 2;
  Timing.AddressHoldTime = 15;
  Timing.DataSetupTime = 4;
  Timing.BusTurnAroundDuration = 1;
  Timing.CLKDivision = 16;
  Timing.DataLatency = 17;
  Timing.AccessMode = FSMC_ACCESS_MODE_A;
  /* ExtTiming */

  if (HAL_SRAM_Init(&hsram1, &Timing, NULL) != HAL_OK)
  {
    Error_Handler( );
  }

}

void HAL_TIM_PeriodElapsedCallback(TIM_HandleTypeDef *htim)
{
  if (htim->Instance == TIM1) {
    HAL_IncTick();
  }
}

void Error_Handler(void)
{
  __disable_irq();
  while (1)
  {
  }
}
